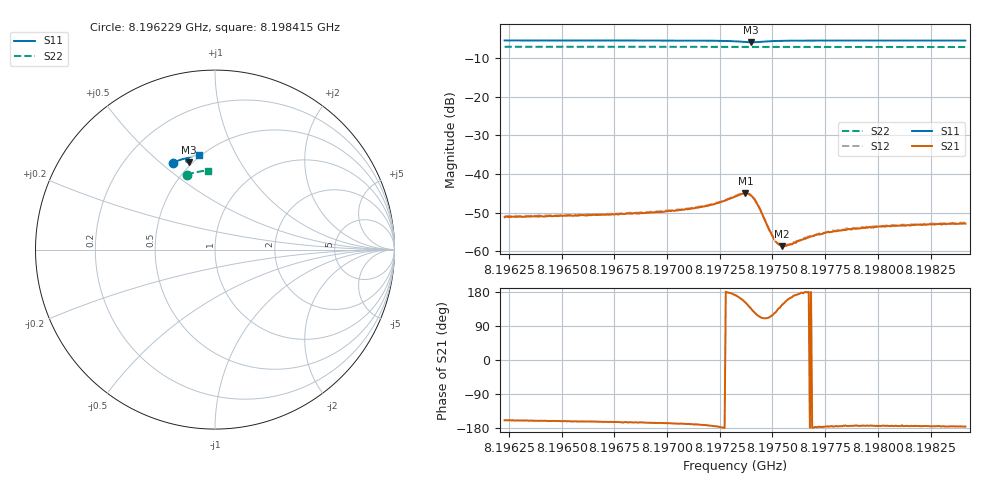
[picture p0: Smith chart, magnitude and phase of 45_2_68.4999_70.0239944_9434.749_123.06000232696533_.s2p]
#  HZ  S  RI  R  50.00
! Rohde & Schwarz Vector Network Analyzer
! Rohde-Schwarz,ZNB20-2Port,1311601062101988,3.16
! Created: UTC 3/20/2024, 4:50:36 PM
! freq[Hz]  re:S11  im:S11  re:S21  im:S21  re:S12  im:S12  re:S22  im:S22
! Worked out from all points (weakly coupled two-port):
!   401 points, 8.196229 GHz to 8.198415 GHz, reference 50 ohm
!   highest |S21| = -44.96 dB at 8.197372 GHz (marker M1); lowest = -58.7 dB at 8.197546 GHz (marker M2)
!   lowest |S11| = -5.9 dB at 8.197399 GHz (marker M3), VSWR 3.07, Z = 23.9 + j31.3 ohm
!   |S11| at or under -10 dB: nowhere
!   |S22| runs from -7.1 to -7.0 dB; largest |S21 - S12| = 0.00032
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8.1962294e9  -0.2321 0.4842  -0.00259 -0.000991  -0.00274 -0.000911  -0.1566 0.4169
8.1965955e9  -0.2073 0.4949  -0.00279 -0.000907  -0.00289 -0.000804  -0.1372 0.423
8.1969617e9  -0.1813 0.5042  -0.00314 -0.000784  -0.00324 -0.00066  -0.1172 0.4285
8.1970983e9  -0.1704 0.507  -0.00343 -0.000681  -0.00354 -0.000531  -0.1097 0.4302
8.1971858e9  -0.1621 0.5083  -0.00383 -0.000548  -0.00393 -0.000386  -0.1047 0.4312
8.1972568e9  -0.1541 0.508  -0.00435 -0.00018  -0.00444 -8.02e-06  -0.1008 0.432
8.1973224e9  -0.1451 0.5036  -0.00504 0.000746  -0.00512 0.00101  -0.0972 0.4325
8.1973716e9  -0.142 0.4928  -0.00499 0.00265  -0.00492 0.00294  -0.0944 0.4327
8.1973989e9  -0.1474 0.4865  -0.00374 0.00371  -0.00362 0.00395  -0.0932 0.4328
8.1974153e9  -0.1529 0.4859  -0.00271 0.00383  -0.00257 0.00401  -0.0925 0.4331
8.1974317e9  -0.1576 0.4879  -0.00177 0.0035  -0.00164 0.00362  -0.0916 0.4332
8.1974809e9  -0.1613 0.499  -0.000735 0.00186  -0.000699 0.0019  -0.089 0.4339
8.1975082e9  -0.1592 0.5037  -0.000781 0.00119  -0.000738 0.0013  -0.0877 0.4344
8.1975246e9  -0.1577 0.5057  -0.000867 0.000924  -0.000807 0.000983  -0.0866 0.4346
8.1975465e9  -0.1556 0.508  -0.000968 0.000652  -0.000975 0.000718  -0.0854 0.4348
8.1975848e9  -0.1519 0.5107  -0.00118 0.000337  -0.00117 0.000417  -0.0832 0.4351
8.1976558e9  -0.1452 0.5141  -0.00145 1.88e-05  -0.0015 7.19e-05  -0.0793 0.4359
8.1976886e9  -0.1424 0.5153  -0.00157 -3.94e-05  -0.00162 2.33e-05  -0.0775 0.4362
8.1977542e9  -0.137 0.517  -0.00174 -0.000147  -0.00177 -6.9e-05  -0.0736 0.4368
8.1978471e9  -0.1297 0.5192  -0.00188 -0.000236  -0.00196 -0.000125  -0.0685 0.4374
8.1980548e9  -0.1143 0.5231  -0.00211 -0.000224  -0.00216 -0.000153  -0.0568 0.4386
8.1984155e9  -0.0882 0.5277  -0.00228 -0.000171  -0.00235 -8.55e-05  -0.0366 0.4401
